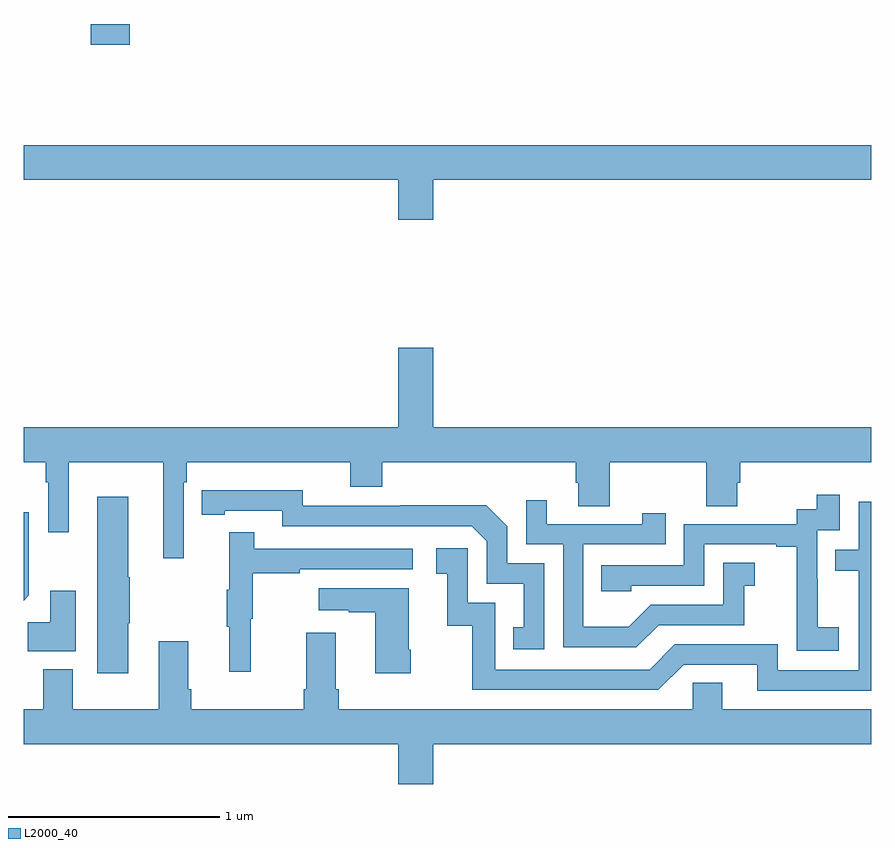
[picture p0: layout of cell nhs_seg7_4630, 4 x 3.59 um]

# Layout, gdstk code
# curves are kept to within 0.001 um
import gdstk
lib = gdstk.Library(unit=1e-6, precision=1e-09)
def R(c, l, rs):  # rectangles x0, y0, x1, y1
    for r in rs: c.add(gdstk.rectangle(r[:2], r[2:], *l))
def P(c, l, *ps):  # polygons
    for p in ps: c.add(gdstk.Polygon(p, *l))
L2000_40 = (2000, 40)

nhs_seg7_4630 = lib.new_cell('nhs_seg7_4630')
R(nhs_seg7_4630, L2000_40, [(403.316,1019.901,403.499,1020)])
P(nhs_seg7_4630, L2000_40, [(404.932,1019.264),(407,1019.264),(407,1019.428),(403,1019.428),(403,1019.264),(404.768,1019.264),(404.768,1019.076),(404.932,1019.076)],
  [(403.755,1017.836),(403.769,1017.836),(403.769,1017.932),(404.54,1017.932),(404.54,1017.815),(404.693,1017.815),(404.693,1017.932),(405.605,1017.932),(405.605,1017.834),(405.617,1017.834),(405.617,1017.724),(405.765,1017.724),(405.765,1017.932),(406.222,1017.932),(406.222,1017.724),(406.369,1017.724),(406.369,1017.834),(406.382,1017.834),(406.382,1017.932),(407,1017.932),(407,1018.096),(404.932,1018.096),(404.932,1018.471),(404.768,1018.471),(404.768,1018.096),(403,1018.096),(403,1017.932),(403.104,1017.932),(403.104,1017.836),(403.116,1017.836),(403.116,1017.6),(403.213,1017.6),(403.213,1017.932),(403.658,1017.932),(403.658,1017.477),(403.755,1017.477)],
  [(405.456,1017.453),(405.282,1017.453),(405.282,1017.63),(405.184,1017.728),(404.776,1017.728),(404.776,1017.726),(404.316,1017.726),(404.316,1017.799),(403.84,1017.798),(403.84,1017.682),(403.948,1017.682),(403.948,1017.702),(404.22,1017.702),(404.22,1017.63),(405.114,1017.63),(405.186,1017.558),(405.186,1017.357),(405.359,1017.357),(405.359,1017.153),(405.31,1017.153),(405.31,1017.048),(405.456,1017.048)],
  [(406.846,1017.151),(406.748,1017.151),(406.748,1017.38),(406.746,1017.38),(406.746,1017.609),(406.851,1017.609),(406.851,1017.778),(406.743,1017.778),(406.743,1017.708),(406.65,1017.708),(406.65,1017.639),(406.116,1017.639),(406.116,1017.444),(405.727,1017.444),(405.727,1017.321),(405.867,1017.321),(405.867,1017.348),(406.212,1017.348),(406.212,1017.543),(406.553,1017.543),(406.553,1017.531),(406.649,1017.531),(406.649,1017.247),(406.648,1017.247),(406.648,1017.041),(406.846,1017.041)],
  [(403.492,1017.172),(403.5,1017.172),(403.5,1017.389),(403.492,1017.389),(403.492,1017.769),(403.346,1017.769),(403.346,1016.934),(403.492,1016.934)],
  [(405.997,1017.162),(406.401,1017.162),(406.401,1017.347),(406.45,1017.347),(406.45,1017.457),(406.302,1017.457),(406.302,1017.258),(405.96,1017.258),(405.856,1017.154),(405.642,1017.154),(405.642,1017.543),(406.031,1017.543),(406.031,1017.691),(405.92,1017.691),(405.92,1017.639),(405.469,1017.639),(405.469,1017.751),(405.372,1017.751),(405.372,1017.543),(405.546,1017.543),(405.546,1017.057),(405.892,1017.057)],
  [(407,1017.744),(406.941,1017.744),(406.941,1017.519),(406.831,1017.519),(406.831,1017.418),(406.941,1017.418),(406.941,1016.949),(406.56,1016.949),(406.56,1017.072),(406.074,1017.072),(405.954,1016.952),(405.225,1016.952),(405.225,1017.267),(405.096,1017.267),(405.096,1017.526),(404.946,1017.526),(404.946,1017.405),(404.999,1017.405),(404.999,1017.159),(405.117,1017.159),(405.117,1016.856),(405.996,1016.856),(406.116,1016.976),(406.463,1016.976),(406.463,1016.853),(407,1016.853)],
  [(403.024,1017.302),(403.024,1017.694),(403,1017.694),(403,1017.278)],
  [(404.072,1017.192),(404.08,1017.192),(404.08,1017.406),(404.303,1017.406),(404.303,1017.426),(404.836,1017.426),(404.836,1017.522),(404.087,1017.522),(404.087,1017.601),(403.97,1017.601),(403.97,1017.329),(403.959,1017.329),(403.959,1017.155),(403.97,1017.155),(403.97,1016.943),(404.072,1016.943)],
  [(404.826,1017.046),(404.818,1017.046),(404.818,1017.337),(404.391,1017.337),(404.391,1017.233),(404.534,1017.233),(404.534,1017.223),(404.66,1017.223),(404.66,1016.934),(404.826,1016.934)],
  [(403.246,1017.325),(403.124,1017.325),(403.124,1017.176),(403.019,1017.176),(403.019,1017.038),(403.246,1017.038)],
  [(403.637,1017.085),(403.637,1016.764),(403.231,1016.764),(403.231,1016.953),(403.091,1016.953),(403.091,1016.764),(403,1016.764),(403,1016.6),(404.768,1016.6),(404.768,1016.412),(404.932,1016.412),(404.932,1016.6),(407,1016.6),(407,1016.764),(406.297,1016.764),(406.297,1016.891),(406.158,1016.891),(406.158,1016.764),(404.486,1016.764),(404.486,1016.86),(404.473,1016.86),(404.473,1017.127),(404.333,1017.127),(404.333,1016.86),(404.321,1016.86),(404.321,1016.764),(403.79,1016.764),(403.79,1016.86),(403.777,1016.86),(403.777,1017.085)])

lib.write_gds('nhs_seg7_4630.gds')
